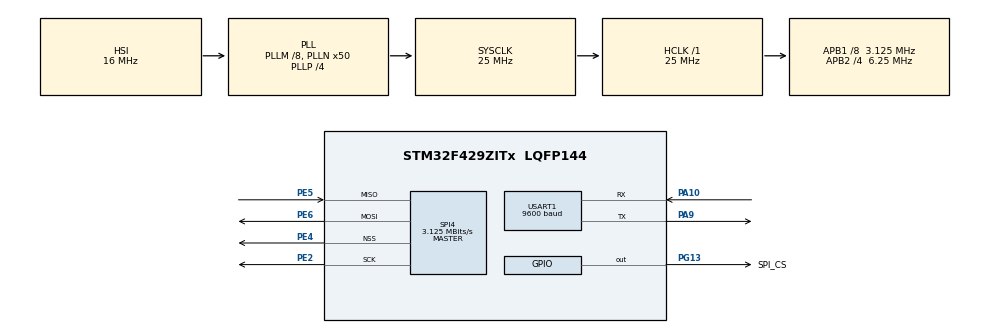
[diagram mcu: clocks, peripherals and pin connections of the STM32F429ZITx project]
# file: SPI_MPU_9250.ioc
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Mcu.Family=STM32F4
Mcu.Name=STM32F429ZITx
Mcu.Package=LQFP144
NVIC.PriorityGroup=NVIC_PRIORITYGROUP_0
NVIC.TIM2_IRQn=true\:0\:0\:false\:false\:true\:true\:true\:true
PA10.Mode=Asynchronous
PA10.Signal=USART1_RX
PA9.Mode=Asynchronous
PA9.Signal=USART1_TX
PE2.Mode=Full_Duplex_Master
PE2.Signal=SPI4_SCK
PE4.Mode=NSS_Signal_Hard_Output
PE4.Signal=SPI4_NSS
PE5.Mode=Full_Duplex_Master
PE5.Signal=SPI4_MISO
PE6.Mode=Full_Duplex_Master
PE6.Signal=SPI4_MOSI
PG13.GPIO_Label=SPI_CS
PG13.Signal=GPIO_Output
ProjectManager.HeapSize=0x200
ProjectManager.StackSize=0x400
ProjectManager.TargetToolchain=STM32CubeIDE
RCC.48MHZClocksFreq_Value=14285714.285714285
RCC.AHBFreq_Value=25000000
RCC.APB1CLKDivider=RCC_HCLK_DIV8
RCC.APB1Freq_Value=3125000
RCC.APB1TimFreq_Value=6250000
RCC.APB2CLKDivider=RCC_HCLK_DIV4
RCC.APB2Freq_Value=6250000
RCC.APB2TimFreq_Value=12500000
RCC.CortexFreq_Value=25000000
RCC.HCLKFreq_Value=25000000
RCC.HSE_VALUE=8000000
RCC.HSI_VALUE=16000000
RCC.LSE_VALUE=32768
RCC.PLLM=8
RCC.PLLN=50
RCC.PLLP=RCC_PLLP_DIV4
RCC.PLLQ=7
RCC.SYSCLKFreq_VALUE=25000000
RCC.SYSCLKSource=RCC_SYSCLKSOURCE_PLLCLK
RCC.VCOOutputFreq_Value=100000000
SPI4.CLKPhase=SPI_PHASE_2EDGE
SPI4.CLKPolarity=SPI_POLARITY_HIGH
SPI4.CalculateBaudRate=3.125 MBits/s
SPI4.Direction=SPI_DIRECTION_2LINES
SPI4.Mode=SPI_MODE_MASTER
SPI4.VirtualNSS=VM_NSSHARD
SPI4.VirtualType=VM_MASTER
TIM2.Period=9999
TIM2.Prescaler=624
USART1.BaudRate=9600
USART1.VirtualMode=VM_ASYNC
VP_TIM2_VS_ClockSourceINT.Mode=Internal
board=STM32F429I-DISC1

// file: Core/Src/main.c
/* USER CODE BEGIN Header */
/**
  ******************************************************************************
  * @file           : main.c
  * @brief          : Main program body
  ******************************************************************************
  * @attention
  *
  * Copyright (c) 2025 STMicroelectronics.
  * All rights reserved.
  *
  * This software is licensed under terms that can be found in the LICENSE file
  * in the root directory of this software component.
  * If no LICENSE file comes with this software, it is provided AS-IS.
  *
  ******************************************************************************
  */
/* USER CODE END Header */
#include "main.h"
#include <stdio.h>

SPI_HandleTypeDef hspi4;

TIM_HandleTypeDef htim2;

UART_HandleTypeDef huart1;

/* USER CODE BEGIN PV */
volatile uint8_t timer_flag = 0;
volatile int16_t accel_data;
/* USER CODE END PV */

void SystemClock_Config(void);
static void MX_GPIO_Init(void);
static void MX_SPI4_Init(void);
static void MX_USART1_UART_Init(void);
static void MX_TIM2_Init(void);
/* USER CODE BEGIN PFP */
void mpu9250_read_reg(uint8_t reg, uint8_t *data, uint8_t len);
void mpu9250_write_reg(uint8_t reg, uint8_t data);
/* USER CODE END PFP */

int main(void)
{

  /* MCU Configuration--------------------------------------------------------*/

  /* Reset of all peripherals, Initializes the Flash interface and the Systick. */
  HAL_Init();

  /* Configure the system clock */
  SystemClock_Config();

  /* Initialize all configured peripherals */
  MX_GPIO_Init();
  MX_SPI4_Init();
  MX_USART1_UART_Init();
  MX_TIM2_Init();
  /* USER CODE BEGIN 2 */
  uint8_t imu_data[14];
  mpu9250_write_reg(28, 0x08);

  char message[256];
  int msg_len;

  /* USER CODE END 2 */

  /* Infinite loop */
  /* USER CODE BEGIN WHILE */
  while (1)
  {
	  if(timer_flag)
	  {
		  mpu9250_read_reg(59, imu_data, sizeof(imu_data));
		  accel_data = ((int16_t)imu_data[0]<<8) + imu_data[1];
		  timer_flag = 0;
		  sprintf(message, "%hd\n%n", accel_data, &msg_len);
		  HAL_UART_Transmit(&huart1, (uint8_t*)message, msg_len, 100);
	  }
    /* USER CODE END WHILE */

  }
}

void SystemClock_Config(void)
{
  RCC_OscInitTypeDef RCC_OscInitStruct = {0};
  RCC_ClkInitTypeDef RCC_ClkInitStruct = {0};

  /** Configure the main internal regulator output voltage
  */
  __HAL_RCC_PWR_CLK_ENABLE();
  __HAL_PWR_VOLTAGESCALING_CONFIG(PWR_REGULATOR_VOLTAGE_SCALE3);

  /** Initializes the RCC Oscillators according to the specified parameters
  * in the RCC_OscInitTypeDef structure.
  */
  RCC_OscInitStruct.OscillatorType = RCC_OSCILLATORTYPE_HSI;
  RCC_OscInitStruct.HSIState = RCC_HSI_ON;
  RCC_OscInitStruct.HSICalibrationValue = RCC_HSICALIBRATION_DEFAULT;
  RCC_OscInitStruct.PLL.PLLState = RCC_PLL_ON;
  RCC_OscInitStruct.PLL.PLLSource = RCC_PLLSOURCE_HSI;
  RCC_OscInitStruct.PLL.PLLM = 8;
  RCC_OscInitStruct.PLL.PLLN = 50;
  RCC_OscInitStruct.PLL.PLLP = RCC_PLLP_DIV4;
  RCC_OscInitStruct.PLL.PLLQ = 7;
  if (HAL_RCC_OscConfig(&RCC_OscInitStruct) != HAL_OK)
  {
    Error_Handler();
  }

  /** Initializes the CPU, AHB and APB buses clocks
  */
  RCC_ClkInitStruct.ClockType = RCC_CLOCKTYPE_HCLK|RCC_CLOCKTYPE_SYSCLK
                              |RCC_CLOCKTYPE_PCLK1|RCC_CLOCKTYPE_PCLK2;
  RCC_ClkInitStruct.SYSCLKSource = RCC_SYSCLKSOURCE_PLLCLK;
  RCC_ClkInitStruct.AHBCLKDivider = RCC_SYSCLK_DIV1;
  RCC_ClkInitStruct.APB1CLKDivider = RCC_HCLK_DIV8;
  RCC_ClkInitStruct.APB2CLKDivider = RCC_HCLK_DIV4;

  if (HAL_RCC_ClockConfig(&RCC_ClkInitStruct, FLASH_LATENCY_0) != HAL_OK)
  {
    Error_Handler();
  }
}

static void MX_SPI4_Init(void)
{

  /* SPI4 parameter configuration*/
  hspi4.Instance = SPI4;
  hspi4.Init.Mode = SPI_MODE_MASTER;
  hspi4.Init.Direction = SPI_DIRECTION_2LINES;
  hspi4.Init.DataSize = SPI_DATASIZE_8BIT;
  hspi4.Init.CLKPolarity = SPI_POLARITY_HIGH;
  hspi4.Init.CLKPhase = SPI_PHASE_2EDGE;
  hspi4.Init.NSS = SPI_NSS_HARD_OUTPUT;
  hspi4.Init.BaudRatePrescaler = SPI_BAUDRATEPRESCALER_2;
  hspi4.Init.FirstBit = SPI_FIRSTBIT_MSB;
  hspi4.Init.TIMode = SPI_TIMODE_DISABLE;
  hspi4.Init.CRCCalculation = SPI_CRCCALCULATION_DISABLE;
  hspi4.Init.CRCPolynomial = 10;
  if (HAL_SPI_Init(&hspi4) != HAL_OK)
  {
    Error_Handler();
  }

}

static void MX_TIM2_Init(void)
{

  TIM_ClockConfigTypeDef sClockSourceConfig = {0};
  TIM_MasterConfigTypeDef sMasterConfig = {0};

  htim2.Instance = TIM2;
  htim2.Init.Prescaler = 624;
  htim2.Init.CounterMode = TIM_COUNTERMODE_UP;
  htim2.Init.Period = 9999;
  htim2.Init.ClockDivision = TIM_CLOCKDIVISION_DIV1;
  htim2.Init.AutoReloadPreload = TIM_AUTORELOAD_PRELOAD_DISABLE;
  if (HAL_TIM_Base_Init(&htim2) != HAL_OK)
  {
    Error_Handler();
  }
  sClockSourceConfig.ClockSource = TIM_CLOCKSOURCE_INTERNAL;
  if (HAL_TIM_ConfigClockSource(&htim2, &sClockSourceConfig) != HAL_OK)
  {
    Error_Handler();
  }
  sMasterConfig.MasterOutputTrigger = TIM_TRGO_RESET;
  sMasterConfig.MasterSlaveMode = TIM_MASTERSLAVEMODE_DISABLE;
  if (HAL_TIMEx_MasterConfigSynchronization(&htim2, &sMasterConfig) != HAL_OK)
  {
    Error_Handler();
  }
  /* USER CODE BEGIN TIM2_Init 2 */
  HAL_TIM_Base_Start_IT(&htim2);
  HAL_TIM_Base_Start(&htim2);
  /* USER CODE END TIM2_Init 2 */

}

static void MX_USART1_UART_Init(void)
{

  huart1.Instance = USART1;
  huart1.Init.BaudRate = 9600;
  huart1.Init.WordLength = UART_WORDLENGTH_8B;
  huart1.Init.StopBits = UART_STOPBITS_1;
  huart1.Init.Parity = UART_PARITY_NONE;
  huart1.Init.Mode = UART_MODE_TX_RX;
  huart1.Init.HwFlowCtl = UART_HWCONTROL_NONE;
  huart1.Init.OverSampling = UART_OVERSAMPLING_16;
  if (HAL_UART_Init(&huart1) != HAL_OK)
  {
    Error_Handler();
  }

}

static void MX_GPIO_Init(void)
{
  GPIO_InitTypeDef GPIO_InitStruct = {0};

  /* GPIO Ports Clock Enable */
  __HAL_RCC_GPIOE_CLK_ENABLE();
  __HAL_RCC_GPIOA_CLK_ENABLE();
  __HAL_RCC_GPIOG_CLK_ENABLE();

  /*Configure GPIO pin Output Level */
  HAL_GPIO_WritePin(SPI_CS_GPIO_Port, SPI_CS_Pin, GPIO_PIN_RESET);

  /*Configure GPIO pin : SPI_CS_Pin */
  GPIO_InitStruct.Pin = SPI_CS_Pin;
  GPIO_InitStruct.Mode = GPIO_MODE_OUTPUT_PP;
  GPIO_InitStruct.Pull = GPIO_NOPULL;
  GPIO_InitStruct.Speed = GPIO_SPEED_FREQ_LOW;
  HAL_GPIO_Init(SPI_CS_GPIO_Port, &GPIO_InitStruct);

}

/* USER CODE BEGIN 4 */
void mpu9250_write_reg(uint8_t reg, uint8_t data)
{
	HAL_GPIO_WritePin(SPI_CS_GPIO_Port, SPI_CS_Pin, GPIO_PIN_RESET);
	HAL_SPI_Transmit(&hspi4, &reg, 1, 100);
	HAL_SPI_Transmit(&hspi4, &data, 1, 100);
	HAL_GPIO_WritePin(SPI_CS_GPIO_Port, SPI_CS_Pin, GPIO_PIN_SET);
}
void mpu9250_read_reg(uint8_t reg, uint8_t *data, uint8_t len)
{
	uint8_t temp_data = 0x80|reg;
	HAL_GPIO_WritePin(SPI_CS_GPIO_Port, SPI_CS_Pin, GPIO_PIN_RESET);
	HAL_SPI_Transmit(&hspi4, &temp_data , 1, 100);
	HAL_SPI_Receive(&hspi4, data, len, 100);
	HAL_GPIO_WritePin(SPI_CS_GPIO_Port, SPI_CS_Pin, GPIO_PIN_SET);
}

void HAL_TIM_PeriodElapsedCallback(TIM_HandleTypeDef *htim)
{
	if (htim == &htim2)
	{
		timer_flag = 1;
	}
}
int _write(int file, char *ptr, int len)
{
	int DataIdx;

	for (DataIdx = 0; DataIdx < len; DataIdx++)
	{
		ITM_SendChar(*ptr++);
	}
	return len;
}

/* USER CODE END 4 */

void Error_Handler(void)
{
  __disable_irq();
  while (1)
  {
  }
}
